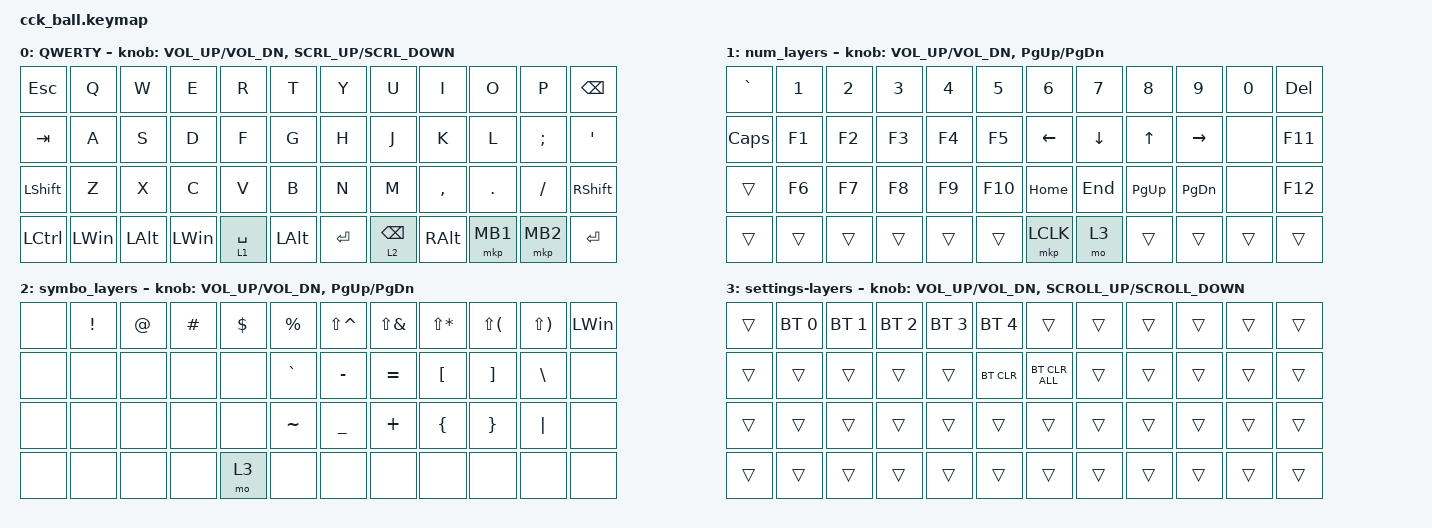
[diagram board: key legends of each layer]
#include <behaviors.dtsi>
#include <dt-bindings/zmk/bt.h>
#include <dt-bindings/zmk/keys.h>
#include <dt-bindings/zmk/pointing.h>

&lt {
    tapping-term-ms = <200>;//lt的延迟时间
    flavor = "balanced";
    quick-tap-ms = <150>;//按下lt后，150ms内按住不松开，就一直是单击的这个按键，而不是切层的效果。150ms以内的这个时间是关键
};

/ {
    combos {
        compatible = "zmk,combos";

        l_s_brackets {
            bindings = <&kp LEFT_PARENTHESIS>;
            key-positions = <4 5>;
        };

        l_m_brackets {
            bindings = <&kt LEFT_BRACKET>;
            key-positions = <16 17>;
        };

        l_l_brackets {
            bindings = <&kp LEFT_BRACE>;
            key-positions = <28 29>;
        };

        r_s_brackets {
            bindings = <&kp RIGHT_PARENTHESIS>;
            key-positions = <7 6>;
        };

        r_m_brackets {
            bindings = <&kp RIGHT_BRACKET>;
            key-positions = <18 19>;
        };

        r_l_brackets {
            bindings = <&kp RIGHT_BRACE>;
            key-positions = <30 31>;
        };
    };

    behaviors {
        scroll_encoder: scroll_encoder {
            compatible = "zmk,behavior-sensor-rotate";
            label = "SCROLL_ENCODER";
            #sensor-binding-cells = <0>;
            bindings = <&msc SCRL_UP>, <&msc SCRL_DOWN>;
        };

        msc_rotate: msc_rotate {
            compatible = "zmk,behavior-sensor-rotate-var";
            label = "MSC_ROTATE";
            #sensor-binding-cells = <2>;
            bindings = <&msc>, <&msc>;
        };
    };

    keymap {
        compatible = "zmk,keymap";

        QWERTY {
            bindings = <
&kp ESCAPE        &kp Q         &kp W         &kp E         &kp R        &kp T         &kp Y      &kp U            &kp I          &kp O     &kp P      &kp BACKSPACE
&kp TAB           &kp A         &kp S         &kp D         &kp F        &kp G         &kp H      &kp J            &kp K          &kp L     &kp SEMI   &kp SQT
&kp LEFT_SHIFT    &kp Z         &kp X         &kp C         &kp V        &kp B         &kp N      &kp M            &kp COMMA      &kp DOT   &kp SLASH  &kp RIGHT_SHIFT
&kp LEFT_CONTROL  &kp LEFT_WIN  &kp LEFT_ALT  &kp LEFT_WIN  &lt 1 SPACE  &kp LEFT_ALT  &kp ENTER  &lt 2 BACKSPACE  &kp RIGHT_ALT  &mkp MB1  &mkp MB2   &kp ENTER
            >;

            sensor-bindings =
                <&inc_dec_kp C_VOL_UP C_VOL_DN>,
                <&msc_rotate SCRL_UP SCRL_DOWN>;
        };

        num_layers {
            bindings = <
&kp GRAVE  &kp N1  &kp N2  &kp N3  &kp N4  &kp N5   &kp N6     &kp N7    &kp N8     &kp N9     &kp N0  &kp DEL
&kp CAPS   &kp F1  &kp F2  &kp F3  &kp F4  &kp F5   &kp LEFT   &kp DOWN  &kp UP     &kp RIGHT  &none   &kp F11
&trans     &kp F6  &kp F7  &kp F8  &kp F9  &kp F10  &kp HOME   &kp END   &kp PG_UP  &kp PG_DN  &none   &kp F12
&trans     &trans  &trans  &trans  &trans  &trans   &mkp LCLK  &mo 3     &trans     &trans     &trans  &trans
            >;

            sensor-bindings = <&inc_dec_kp C_VOL_UP C_VOL_DN &inc_dec_kp PG_UP PG_DN>;
        };

        symbo_layers {
            bindings = <
&none  &kp EXCL  &kp AT  &kp HASH  &kp DOLLAR  &kp PERCENT  &kp LS(CARET)  &kp LS(AMPS)  &kp LS(STAR)    &kp LS(LPAR)  &kp LS(RPAR)  &kp LEFT_WIN
&none  &none     &none   &none     &none       &kp GRAVE    &kp MINUS      &kp EQUAL     &kp LBKT        &kp RBKT      &kp BSLH      &none
&none  &none     &none   &none     &none       &kp TILDE    &kp UNDER      &kp PLUS      &kp LEFT_BRACE  &kp RBRC      &kp PIPE      &none
&none  &none     &none   &none     &mo 3       &none        &none          &none         &none           &none         &none         &none
            >;

            sensor-bindings = <&inc_dec_kp C_VOL_UP C_VOL_DN &inc_dec_kp PG_UP PG_DN>;
        };

        settings-layers {
            bindings = <
&trans  &bt BT_SEL 0  &bt BT_SEL 1  &bt BT_SEL 2  &bt BT_SEL 3  &bt BT_SEL 4  &trans          &trans  &trans  &trans  &trans  &trans
&trans  &trans        &trans        &trans        &trans        &bt BT_CLR    &bt BT_CLR_ALL  &trans  &trans  &trans  &trans  &trans
&trans  &trans        &trans        &trans        &trans        &trans        &trans          &trans  &trans  &trans  &trans  &trans
&trans  &trans        &trans        &trans        &trans        &trans        &trans          &trans  &trans  &trans  &trans  &trans
            >;

            sensor-bindings =
                <&inc_dec_kp C_VOL_UP C_VOL_DN>,
                <&inc_dec_kp K_SCROLL_UP K_SCROLL_DOWN>;
        };
    };
};
